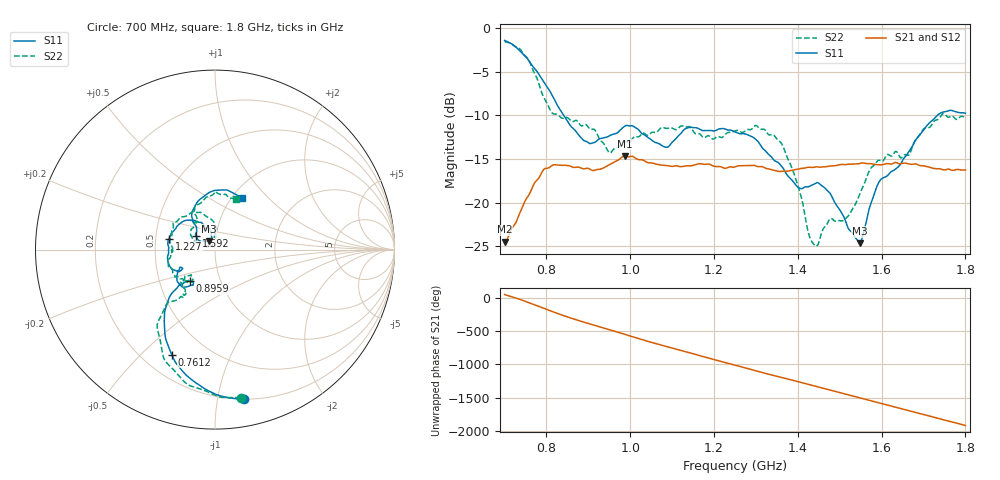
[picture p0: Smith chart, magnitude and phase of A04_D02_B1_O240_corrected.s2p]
! Created with skrf 1.9.0 (http://scikit-rf.org).
# Hz S RI R 50.0
!freq ReS11 ImS11 ReS21 ImS21 ReS12 ImS12 ReS22 ImS22
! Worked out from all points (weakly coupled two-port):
!   1601 points, 700 MHz to 1.8 GHz, reference 50 ohm
!   highest |S21| = -14.66 dB at 986.7 MHz (marker M1); lowest = -24.5 dB at 700 MHz (marker M2)
!   lowest |S11| = -24.6 dB at 1.548 GHz (marker M3), VSWR 1.12, Z = 46.4 + j4.39 ohm
!   |S11| at or under -10 dB: 840.8 MHz to 1.733 GHz (892.1 MHz wide, 69.3 % of centre)
!   |S22| runs from -25.0 to -1.5 dB; largest |S21 - S12| = 0.0035
!   S11 on the Smith chart (normalised r, x): 700 MHz: 0.20, -1.19; 761.2 MHz: 0.32, -0.62; 895.9 MHz: 0.72, -0.27; 1.227 GHz: 0.59, +0.08; 1.592 GHz: 0.80, +0.12; 1.8 GHz: 1.11, +0.72
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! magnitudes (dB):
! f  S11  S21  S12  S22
! 700 MHz  -1.4  -24.5  -24.2  -1.5
! 761.2 MHz  -4.0  -18.8  -18.7  -4.0
! 812.8 MHz  -7.6  -15.8  -15.7  -9.7
! 883.6 MHz  -12.6  -16.1  -15.9  -11.2
! 895.9 MHz  -13.0  -16.1  -16.2  -11.1
! 950.2 MHz  -12.3  -15.6  -15.6  -14.3
! 986.7 MHz  -11.2  -14.7  -14.7  -13.0
! 1.067 GHz  -13.2  -15.6  -15.6  -11.7
! 1.227 GHz  -11.6  -16.1  -16.0  -12.1
! 1.25 GHz  -11.9  -15.9  -15.8  -11.8
! 1.301 GHz  -12.8  -15.8  -15.8  -11.2
! 1.36 GHz  -15.8  -16.4  -16.4  -13.2
! 1.399 GHz  -18.1  -16.2  -16.2  -17.8
! 1.434 GHz  -18.0  -16.0  -15.9  -24.5
! 1.474 GHz  -18.8  -15.8  -15.8  -22.0
! 1.514 GHz  -22.1  -15.6  -15.6  -21.8
! 1.548 GHz  -24.6  -15.5  -15.5  -19.0
! 1.592 GHz  -17.8  -15.7  -15.6  -15.1
! 1.617 GHz  -16.7  -15.5  -15.5  -14.5
! 1.664 GHz  -14.2  -15.5  -15.5  -14.6
! 1.736 GHz  -9.9  -16.1  -16.2  -10.4
! 1.8 GHz  -9.8  -16.2  -16.2  -10.3
